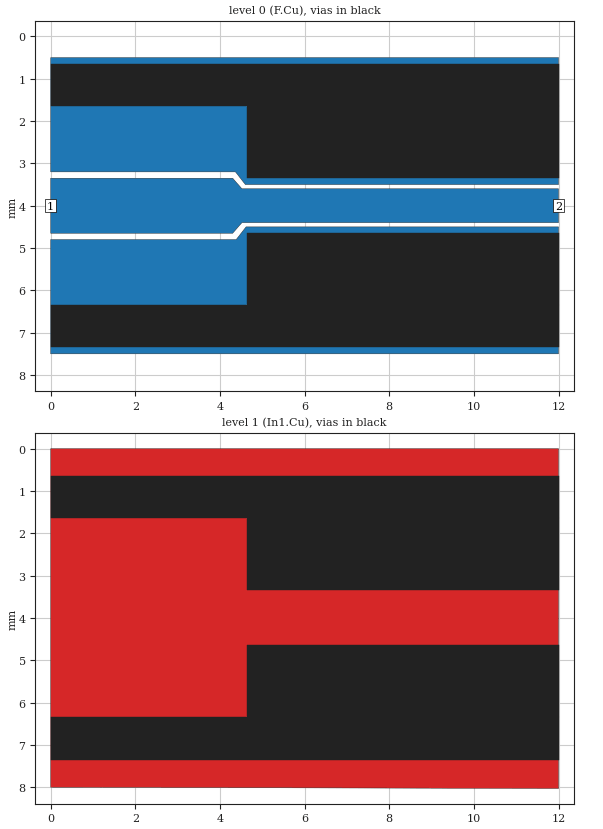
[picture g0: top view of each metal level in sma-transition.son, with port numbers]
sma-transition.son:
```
FTYP SONPROJ 17 ! Sonnet Project File
VER 17.52.2
HEADER
LIC antikernel2.1.48685 90e2ba8817c0 havequick azonenberg
DAT 03/09/2020 17:55:45
BUILT_BY_CREATED xgeom 16.56 07/03/2018 15:05:41
BUILT_BY_SAVED sonnet 17.52.2
MDATE 03/06/2020 15:14:02
HDATE 03/06/2020 15:14:02
END HEADER
DIM
ANG DEG
CAP PF
CON /OH
FREQ GHZ
IND NH
LNG MM
RES OH
END DIM
CONTROL
VARSWP
OPTIONS  -dj
SPEED 1
CACHE_ABS 1
Q_ACC N
END CONTROL
GEO
SYM
TMET "Free Space" 0 FREESPACE 376.7303136 0 0 0
BMET "Free Space" 0 FREESPACE 376.7303136 0 0 0
MET "Copper" 1 NOR 58000000 0.5 0.035 
MET "Copper Thick" 51 TMM 58000000 0.5 0.035 2
BRI "Alumina (96%)" 0 9.4 0.0004 0 
BRI "Alumina (99.5%)" 0 9.9 0.0001 0 
BRI "Aluminum Nitride" 0 8.6 0.0003 0 
BRI "Arlon 25FR" 0 3.58 0.0035 0 
BRI "Arlon 25N" 0 3.38 0.0025 0 
BRI "Arlon AD5" 0 5.1 0.003 0 
BRI "Arlon AD10" 0 10.2 0.005 0 
BRI "Arlon AD250" 0 2.5 0.0018 0 
BRI "Arlon AD255A" 0 2.55 0.0015 0 
BRI "Arlon AD260A" 0 2.6 0.0018 0 
BRI "Arlon AD270" 0 2.7 0.0023 0 
BRI "Arlon AD300A" 0 3 0.002 0 
BRI "Arlon AD320A" 0 3.2 0.0032 0 
BRI "Arlon AD350A" 0 3.5 0.003 0 
BRI "Arlon AD410" 0 4.1 0.003 0 
BRI "Arlon AD430" 0 4.3 0.003 0 
BRI "Arlon AD450" 0 4.5 0.0035 0 
BRI "Arlon AD600" 0 6.15 0.003 0 
BRI "Arlon AD1000" 0 10.2 0.0023 0 
BRI "Arlon AR1000" 0 9.8 0.003 0 
BRI "Arlon CLTE" 0 2.96 0.0023 0 
BRI "Arlon CLTE-AT" 0 3 0.0013 0 
BRI "Arlon CLTE-P" 0 2.94 0.0025 0 
BRI "Arlon CLTE-XT" 0 2.94 0.0012 0 
BRI "Arlon Cu 217LX" 0 2.17 0.0009 0 
BRI "Arlon Cu 233LX" 0 2.33 0.0013 0 
BRI "Arlon Cu 250GT" 0 2.5 0.001 0 
BRI "Arlon Cu 250GX" 0 2.5 0.0018 0 
BRI "Arlon Cu 6250" 0 2.32 0.0013 0 
BRI "Arlon Cu 6700" 0 2.35 0.0025 0 
BRI "Arlon Di 522" 0 2.5 0.001 0 
BRI "Arlon Di 527" 0 2.5 0.0018 0 
BRI "Arlon Di 870" 0 2.33 0.0013 0 
BRI "Arlon Di 880" 0 2.17 0.0009 0 
BRI "Arlon Iso 917" 0 2.17 0.0013 0 
BRI "Arlon Iso 933" 0 2.33 0.0016 0 
BRI "Arlon Multi HF" 0 3.7 0.004 0 
BRI "Arlon TC350" 0 3.5 0.002 0 
BRI "Arlon TC600" 0 6.15 0.002 0 
BRI "Beryllia (99.5%)" 0 6.5 0.0004 0 
BRI "CEM-1" 0 4.5 0.02 0 
BRI "CEM-3" 0 4.5 0.02 0 
BRI "Dupont 9K7" 0 7.1 0.0012 0 
BRI "Dupont 943" 0 7.4 0.002 0 
BRI "Dupont 951" 0 7.8 0.006 0 
BRI "Dupont FEP" 0 2 0.0005 0 
BRI "Dupont Vacrel" 0 3.8 0.011 0 
BRI "ESL 41010" 0 7.5 0.005 0 
BRI "ESL 41020" 0 7.25 0.005 0 
BRI "ESL 41050" 0 13.5 0.002 0 
BRI "ESL 41060" 0 16.5 0.002 0 
BRI "ESL 41110" 0 4.5 0.004 0 
BRI "Ferro A6M" 0 5.9 0.002 0 
BRI "Ferro A6S" 0 5.9 0.002 0 
BRI "Ferro L8" 0 7.3 0.0018 0 
BRI "FR-4" 0 4.4 0.02 0 
BRI "G-10" 0 4.8 0.025 0 
BRI "Gallium Arsenide" 0 12.9 0.006 0 
BRI "Gallium Nitride" 0 9.7 0 0 
BRI "Glass (Pyrex)" 0 4.82 0.0054 0 
BRI "Heraeus HL2000" 0 7.3 0.0026 0 
BRI "Isola 370HR" 0 4.04 0.021 0 
BRI "Isola FR408" 0 3.77 0.0116 0 
BRI "Isola FR408HR" 0 3.68 0.0092 0 
BRI "Isola Getek" 0 3.6 0.01 0 
BRI "Isola GI-180" 0 3.7 0.013 0 
BRI "Isola IS415" 0 3.82 0.0125 0 
BRI "Isola IS620i" 0 3.58 0.006 0 
BRI "Isola IS680-280" 0 2.8 0.0025 0 
BRI "Isola IS680-300" 0 3 0.003 0 
BRI "Isola IS680-320" 0 3.2 0.003 0 
BRI "Isola IS680-333" 0 3.33 0.003 0 
BRI "Isola IS680-338" 0 3.38 0.0032 0 
BRI "Isola IS680-345" 0 3.45 0.0036 0 
BRI "Kerafol CT800" 0 5.3 0.008 0 
BRI "Nelco MW9350" 0 3.7 0.004 0 
BRI "Nelco N4000-12" 0 3.7 0.008 0 
BRI "Nelco N4000-13" 0 3.7 0.009 0 
BRI "Nelco N4000-13SI" 0 3.2 0.007 0 
BRI "Nelco N4000-13EP" 0 3.7 0.008 0 
BRI "Nelco N4350-13RF" 0 3.5 0.0065 0 
BRI "Nelco N4380-13RF" 0 3.8 0.007 0 
BRI "Nelco N9300-13RF" 0 3 0.004 0 
BRI "Nelco N9320-13RF" 0 3.2 0.0045 0 
BRI "Nelco N9338-13RF" 0 3.38 0.0046 0 
BRI "Nelco N9350-13RF" 0 3.48 0.0055 0 
BRI "Nelco NH9294" 0 2.94 0.0022 0 
BRI "Nelco NH9300" 0 3 0.0023 0 
BRI "Nelco NH9320" 0 3.2 0.0024 0 
BRI "Nelco NH9338" 0 3.38 0.0025 0 
BRI "Nelco NH9348" 0 3.48 0.003 0 
BRI "Nelco NH9350" 0 3.5 0.003 0 
BRI "Nelco NH9410" 0 4.1 0.003 0 
BRI "Nelco NH9450" 0 4.5 0.003 0 
BRI "Nelco NX9240" 0 2.4 0.0016 0 
BRI "Nelco NX9245" 0 2.45 0.0016 0 
BRI "Nelco NX9250" 0 2.5 0.0017 0 
BRI "Nelco NX9255" 0 2.55 0.0018 0 
BRI "Nelco NX9260" 0 2.6 0.0019 0 
BRI "Nelco NY9208" 0 2.08 0.0006 0 
BRI "Nelco NY9217" 0 2.17 0.0008 0 
BRI "Nelco NY9220" 0 2.2 0.0009 0 
BRI "Nelco NY9233" 0 2.33 0.0011 0 
BRI "PET" 0 3.37 0.0208 0 
BRI "Polyimide" 0 3.5 0.003 0 
BRI "Quartz (Fused)" 0 3.78 0.0001 0 
BRI "Rogers 3001" 0 2.28 0.003 0 
BRI "Rogers RO2808" 0 7.6 0.0015 0 
BRI "Rogers RO3003" 0 3 0.0013 0 
BRI "Rogers RO3006" 0 6.5 0.002 0 
BRI "Rogers RO3010" 0 11.2 0.0022 0 
BRI "Rogers RO3035" 0 3.6 0.0018 0 
BRI "Rogers RO3203" 0 3.02 0.0016 0 
BRI "Rogers RO3206" 0 6.6 0.0027 0 
BRI "Rogers RO3210" 0 10.8 0.0027 0 
BRI "Rogers RO3730" 0 3 0.0016 0 
BRI "Rogers RO4003C" 0 3.55 0.0029 0 
BRI "Rogers RO4533" 0 3.45 0.0029 0 
BRI "Rogers RO4534" 0 3.4 0.003 0 
BRI "Rogers RO4350B" 0 3.66 0.0037 0 
BRI "Rogers RO4350BTX" 0 3.66 0.0034 0 
BRI "Rogers RO4360" 0 6.15 0.0038 0 
BRI "Rogers RO4450B-3.6" 0 3.3 0.0043 0 
BRI "Rogers RO4450B-4" 0 3.54 0.004 0 
BRI "Rogers RO4450F" 0 3.52 0.0041 0 
BRI "Rogers RO4730" 0 3 0.0033 0 
BRI "Rogers RT5870" 0 2.33 0.0012 0 
BRI "Rogers RT5880" 0 2.2 0.0009 0 
BRI "Rogers RT5880LZ" 0 1.96 0.0019 0 
BRI "Rogers RT6002" 0 2.94 0.0012 0 
BRI "Rogers RT6006" 0 6.15 0.0027 0 
BRI "Rogers RT6010LM" 0 10.9 0.0023 0 
BRI "Rogers RT6035HTC" 0 3.6 0.0013 0 
BRI "Rogers RT6202" 0 2.94 0.0015 0 
BRI "Rogers RT6202PR" 0 2.95 0.0015 0 
BRI "Rogers Syron7000" 0 3.4 0.0045 0 
BRI "Rogers Syron7100-2" 0 3.61 0.006 0 
BRI "Rogers Syron7100-4" 0 3.39 0.005 0 
BRI "Rogers Theta" 0 4.01 0.0118 0 
BRI "Rogers TMM 3" 0 3.39 0.002 0 
BRI "Rogers TMM 4" 0 4.5 0.002 0 
BRI "Rogers TMM 6" 0 6 0.0023 0 
BRI "Rogers TMM 10" 0 9.56 0.0022 0 
BRI "Rogers TMM 10i" 0 9.96 0.002 0 
BRI "Rogers UL2000" 0 2.5 0.0019 0 
BRI "Rogers UL3850" 0 3.05 0.0025 0 
BRI "Rogers UL3908" 0 2.9 0.0025 0 
BRI "Rogers XT8000" 0 3.34 0.0035 0 
BRI "Rogers XT8100-2" 0 3.54 0.0049 0 
BRI "Rogers XT8100-4" 0 3.32 0.0038 0 
BRI "Silicon (intrinsic)" 0 11.9 0.004 0.00044 
BRI "Silicon Dioxide" 0 3.9 0 0 
BRI "Silicon Nitride" 0 7.5 0 0 
BRI "Taconic CER-10" 0 10 0.0035 0 
BRI "Taconic FastFilm" 0 2.7 0.0012 0 
BRI "Taconic Fastrise-DS" 0 2.96 0.0018 0 
BRI "Taconic Fastrise27" 0 2.7 0.0014 0 
BRI "Taconic Fastrise77" 0 7.7 0.0034 0 
BRI "Taconic FEP" 0 2 0.0003 0 
BRI "Taconic RF-30" 0 3 0.0014 0 
BRI "Taconic RF-35" 0 3.5 0.0018 0 
BRI "Taconic RF-35A2" 0 3.5 0.0011 0 
BRI "Taconic RF-35P" 0 3.5 0.0025 0 
BRI "Taconic RF-41" 0 4.1 0.0038 0 
BRI "Taconic RF-43" 0 4.3 0.0033 0 
BRI "Taconic RF-45" 0 4.5 0.0037 0 
BRI "Taconic RF-60A" 0 6.15 0.0038 0 
BRI "Taconic RF-301" 0 2.97 0.0012 0 
BRI "Taconic TacBond HT" 0 2.35 0.0025 0 
BRI "Taconic TLA-6" 0 2.62 0.0012 0 
BRI "Taconic TLC-27" 0 2.75 0.003 0 
BRI "Taconic TLC-30" 0 3 0.003 0 
BRI "Taconic TLC-32" 0 3.2 0.003 0 
BRI "Taconic TLE-95" 0 2.95 0.0028 0 
BRI "Taconic TLF-34" 0 3.4 0.002 0 
BRI "Taconic TLF-35" 0 3.5 0.002 0 
BRI "Taconic TLP-3" 0 2.33 0.0009 0 
BRI "Taconic TLP-5" 0 2.2 0.0009 0 
BRI "Taconic TLP-5A" 0 2.17 0.0009 0 
BRI "Taconic TLT-0" 0 2.45 0.0006 0 
BRI "Taconic TLT-9" 0 2.5 0.0006 0 
BRI "Taconic TLT-8" 0 2.55 0.0006 0 
BRI "Taconic TLT-7" 0 2.6 0.0006 0 
BRI "Taconic TLT-6" 0 2.65 0.0006 0 
BRI "Taconic TLX-0" 0 2.45 0.0019 0 
BRI "Taconic TLX-9" 0 2.5 0.0019 0 
BRI "Taconic TLX-8" 0 2.55 0.0019 0 
BRI "Taconic TLX-7" 0 2.6 0.0019 0 
BRI "Taconic TLX-6" 0 2.65 0.0019 0 
BRI "Taconic TLY-3" 0 2.33 0.0009 0 
BRI "Taconic TLY-3F" 0 2.33 0.0009 0 
BRI "Taconic TLY-5" 0 2.2 0.0009 0 
BRI "Taconic TLY-5-L" 0 2.2 0.0009 0 
BRI "Taconic TLY-5A" 0 2.17 0.0009 0 
BRI "Taconic TLY-5A-L" 0 2.17 0.0009 0 
BRI "Taconic TPG-30" 0 3 0.0038 0 
BRI "Taconic TPG-32" 0 3.2 0.005 0 
BRI "Taconic TPG-35" 0 3.5 0.005 0 
BRI "Taconic TRF-41" 0 4.1 0.0035 0 
BRI "Taconic TRF-43" 0 4.3 0.0035 0 
BRI "Taconic TRF-45" 0 4.5 0.0035 0 
BRI "Taconic TSM-DS" 0 2.85 0.001 0 
BRI "Taconic TSM-DS3" 0 3 0.0011 0 
BRI "Taconic TSM-26" 0 2.6 0.0014 0 
BRI "Taconic TSM-29" 0 2.94 0.0013 0 
BRI "Taconic TSM-30" 0 3 0.0013 0 
BRI "Teflon (PTFE)" 0 2.08 0.0004 0 
BOX 2 12 8 480 320 20 0
      1 1 1 0 0 0 0 "Air"
      1.52 3.5 1 0.0037 0 0 0 "Rogers RO4350B"
      1 1 1 0 0 0 0 "Air"
TECHLAY METAL F.Cu <UNSPECIFIED> -2 0 
0 0 1 T 0 1 1 100 100 0 0 0 Y
END
END
TECHLAY METAL In1.Cu <UNSPECIFIED> -3 0 
1 0 0 N 0 1 1 100 100 0 0 0 Y
END
END
TECHLAY VIA Via1 <UNSPECIFIED> -4 0 
VIA POLYGON
1 0 -1 N 0 1 1 100 100 0 0 0 Y
TOLEVEL 0 RING NOCOVERS
END
END
VALVAR XSLOPE LNG 7.4 "Dim. Param."
VALVAR YCUT2 NONE 0.3 ""
DIM STD YDIR -1
POS 0.4328988665 -0.5142165283
NOM 0.8
REF1 POLY 219 1
1
REF2 POLY 219 1
2
END
DIM STD YDIR -1
POS -0.4488679567 -1.009182129
NOM 1.3
REF1 POLY 219 1
6
REF2 POLY 219 1
5
END
DIM STD XDIR 1
POS 2.643333523 -0.237723051
NOM 4.3
REF1 POLY 219 1
5
REF2 POLY 219 1
4
END
DIM STD YDIR -1
POS 0.3172213735 -0.1104667947
NOM 0.1
REF1 POLY 219 1
2
REF2 POLY 218 1
5
END
DIM STD YDIR 1
POS 0.1302820946 0.05538614605
NOM 0.1
REF1 POLY 219 1
1
REF2 POLY 222 1
0
END
DIM STD YDIR -1
POS -0.1298189436 -0.1356829552
NOM 0.15
REF1 POLY 219 1
5
REF2 POLY 218 1
2
END
DIM STD YDIR -1
POS -0.1626869013 -0.1117287685
NOM 0.15
REF1 POLY 222 1
3
REF2 POLY 219 1
6
END
DIM STD YDIR 1
POS 0.3222707399 0.124048962
NOM 0.25
REF1 POLY 219 1
4
REF2 POLY 219 1
3
END
DIM STD XDIR 1
POS 0.1143250636 0.3342549174
NOM 0.21875
REF1 POLY 219 1
4
REF2 POLY 219 1
3
END
LORGN 0 250 U 
POR1 BOX
POLY 219 1
1
2 50 0 0 0 12 4 
POR1 BOX
POLY 219 1
5
1 50 0 0 0 0 4 
NUM 8
0 7 1 T 218 1 1 100 100 0 0 0 Y
TLAYNAM F.Cu INH
12 0.5
0 0.5
0 3.2
4.366666667 3.2
4.6 3.5
12 3.5
12 0.5
END
0 9 1 T 219 1 1 100 100 0 0 0 Y
TLAYNAM F.Cu INH
4.51875 4.4
12 4.4
12 3.6
4.51875 3.6
4.3 3.35
0 3.35
0 4.65
4.3 4.65
4.51875 4.4
END
0 7 1 T 222 1 1 100 100 0 0 0 Y
TLAYNAM F.Cu INH
12 4.5
4.616666667 4.5
4.383333334 4.8
0 4.8
0 7.5
12 7.5
12 4.5
END
VIA POLYGON
0 5 -1 N 223 1 1 100 100 0 0 0 Y
TOLEVEL 1 RING NOCOVERS
0 0.65
12 0.65
12 1.65
0 1.65
0 0.65
END
VIA POLYGON
0 5 -1 N 224 1 1 100 100 0 0 0 Y
TOLEVEL 1 RING NOCOVERS
0 6.35
12 6.35
12 7.35
0 7.35
0 6.35
END
VIA POLYGON
0 5 -1 N 225 1 1 100 100 0 0 0 Y
TOLEVEL 1 RING NOCOVERS
4.633333333 1.65
12 1.65
12 3.35
4.633333333 3.35
4.633333333 1.65
END
VIA POLYGON
0 5 -1 N 226 1 1 100 100 0 0 0 Y
TOLEVEL 1 RING NOCOVERS
4.633333333 4.65
12 4.65
12 6.35
4.633333333 6.35
4.633333333 4.65
END
1 11 0 N 229 1 1 100 100 0 0 0 Y
TLAYNAM In1.Cu INH
0 -1.942890293e-16
0 3.85
-1.998401444e-15 3.85
-7.105427358e-16 3.85
1.421085472e-15 4.15
0 4.15
0 4.15
0 8
12 8.03
12 0
0 -1.942890293e-16
END
END GEO
OPT
MAX 100
END OPT
VARSWP
SWPVARS ON
ENABLED Y
FREQ Y AY ABS_ENTRY 0.1 10.0 -1 300 
VAR XSLOPE N 6.8 7.2 0.1
END
END VARSWP
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```
